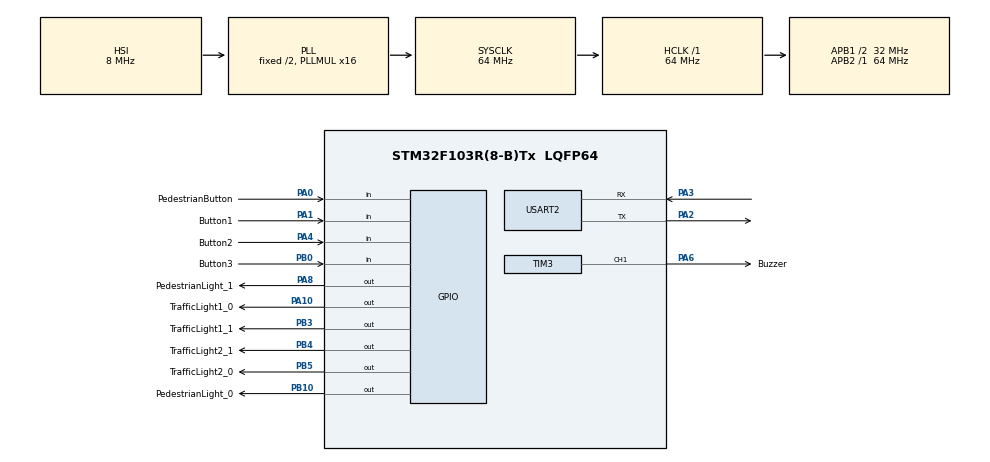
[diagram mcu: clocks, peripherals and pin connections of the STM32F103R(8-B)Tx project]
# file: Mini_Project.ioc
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Mcu.Family=STM32F1
Mcu.Name=STM32F103R(8-B)Tx
Mcu.Package=LQFP64
NVIC.PriorityGroup=NVIC_PRIORITYGROUP_4
NVIC.TIM2_IRQn=true\:0\:0\:false\:false\:true\:true\:true
NVIC.USART2_IRQn=true\:0\:0\:false\:false\:true\:true\:true
PA0-WKUP.GPIO_Label=PedestrianButton
PA0-WKUP.Signal=GPIO_Input
PA1.GPIO_Label=Button1
PA1.Signal=GPIO_Input
PA10.GPIO_Label=TrafficLight1_0
PA10.Signal=GPIO_Output
PA13.Mode=Serial_Wire
PA13.Signal=SYS_JTMS-SWDIO
PA14.Mode=Serial_Wire
PA14.Signal=SYS_JTCK-SWCLK
PA2.Mode=Asynchronous
PA2.Signal=USART2_TX
PA3.Mode=Asynchronous
PA3.Signal=USART2_RX
PA4.GPIO_Label=Button2
PA4.Signal=GPIO_Input
PA6.GPIO_Label=Buzzer
PA6.Signal=S_TIM3_CH1
PA8.GPIO_Label=PedestrianLight_1
PA8.Signal=GPIO_Output
PB0.GPIO_Label=Button3
PB0.Signal=GPIO_Input
PB10.GPIO_Label=PedestrianLight_0
PB10.Signal=GPIO_Output
PB3.GPIO_Label=TrafficLight1_1
PB3.Signal=GPIO_Output
PB4.GPIO_Label=TrafficLight2_1
PB4.Signal=GPIO_Output
PB5.GPIO_Label=TrafficLight2_0
PB5.Signal=GPIO_Output
ProjectManager.HeapSize=0x200
ProjectManager.StackSize=0x400
ProjectManager.TargetToolchain=STM32CubeIDE
RCC.AHBFreq_Value=64000000
RCC.APB1CLKDivider=RCC_HCLK_DIV2
RCC.APB1Freq_Value=32000000
RCC.APB1TimFreq_Value=64000000
RCC.APB2Freq_Value=64000000
RCC.APB2TimFreq_Value=64000000
RCC.HCLKFreq_Value=64000000
RCC.PLLMUL=RCC_PLL_MUL16
RCC.SYSCLKFreq_VALUE=64000000
RCC.SYSCLKSource=RCC_SYSCLKSOURCE_PLLCLK
RCC.USBFreq_Value=64000000
SH.S_TIM3_CH1.0=TIM3_CH1,PWM Generation1 CH1
TIM2.Period=63
TIM2.Prescaler=999
TIM3.Channel-PWM\ Generation1\ CH1=TIM_CHANNEL_1
TIM3.Period=63
TIM3.Prescaler=999
USART2.VirtualMode=VM_ASYNC
VP_TIM2_VS_ClockSourceINT.Mode=Internal
VP_TIM3_VS_ClockSourceINT.Mode=Internal
board=custom

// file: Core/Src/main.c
/* USER CODE BEGIN Header */
/**
  ******************************************************************************
  * @file           : main.c
  * @brief          : Main program body
  ******************************************************************************
  * @attention
  *
  * <h2><center>&copy; Copyright (c) 2022 STMicroelectronics.
  * All rights reserved.</center></h2>
  *
  * This software component is licensed by ST under BSD 3-Clause license,
  * the "License"; You may not use this file except in compliance with the
  * License. You may obtain a copy of the License at:
  *                        opensource.org/licenses/BSD-3-Clause
  *
  ******************************************************************************
  */
/* USER CODE END Header */
#include "main.h"

/* USER CODE BEGIN Includes */
#include "scheduler.h"
#include "fsm_auto.h"
#include "fsm_manual.h"
#include "fsm_tuning.h"
#include "fsm_pedestrian.h"
#include "scheduler.h"

/* USER CODE END Includes */

TIM_HandleTypeDef htim2;
TIM_HandleTypeDef htim3;

UART_HandleTypeDef huart2;

void SystemClock_Config(void);
static void MX_GPIO_Init(void);
static void MX_TIM2_Init(void);
static void MX_USART2_UART_Init(void);
static void MX_TIM3_Init(void);
/* USER CODE BEGIN PFP */

void test_IO(){
	HAL_GPIO_WritePin(TrafficLight1_0_GPIO_Port, TrafficLight1_0_Pin, HAL_GPIO_ReadPin(Button1_GPIO_Port, Button1_Pin));
	HAL_GPIO_WritePin(TrafficLight2_0_GPIO_Port, TrafficLight2_0_Pin, HAL_GPIO_ReadPin(Button2_GPIO_Port, Button2_Pin));
	HAL_GPIO_WritePin(PedestrianLight_0_GPIO_Port, PedestrianLight_0_Pin, HAL_GPIO_ReadPin(Button3_GPIO_Port, Button3_Pin));
	HAL_GPIO_WritePin(Buzzer_GPIO_Port, Buzzer_Pin, HAL_GPIO_ReadPin(PedestrianLight_0_GPIO_Port, PedestrianLight_0_Pin));
}

/* USER CODE END PFP */

int main(void)
{

  /* MCU Configuration--------------------------------------------------------*/

  /* Reset of all peripherals, Initializes the Flash interface and the Systick. */
  HAL_Init();

  /* Configure the system clock */
  SystemClock_Config();

  /* Initialize all configured peripherals */
  MX_GPIO_Init();
  MX_TIM2_Init();
  MX_USART2_UART_Init();
  MX_TIM3_Init();
  /* USER CODE BEGIN 2 */
  SCH_Init();
//  SCH_Add_Task(test_IO, 10, 10);
  HAL_TIM_Base_Start_IT(&htim2);
  HAL_TIM_PWM_Start(&htim3, TIM_CHANNEL_1);
  /* USER CODE END 2 */

  /* Infinite loop */
  /* USER CODE BEGIN WHILE */
  status = INIT;
  pedestrianStatus = INIT;
  SCH_Add_Task(timer_run, 1, 1);
  SCH_Add_Task(button_reading, 1, 1);
  SCH_Add_Task(fsm_auto_run, 2, 10);
  SCH_Add_Task(fsm_manual_run, 3, 10);
  SCH_Add_Task(fsm_tuning_run, 4, 10);
  SCH_Add_Task(fsm_pedestrian_run, 5, 10);
  while (1)
  {
	  SCH_Dispatch_Tasks();
    /* USER CODE END WHILE */

  }
}

void SystemClock_Config(void)
{
  RCC_OscInitTypeDef RCC_OscInitStruct = {0};
  RCC_ClkInitTypeDef RCC_ClkInitStruct = {0};

  /** Initializes the RCC Oscillators according to the specified parameters
  * in the RCC_OscInitTypeDef structure.
  */
  RCC_OscInitStruct.OscillatorType = RCC_OSCILLATORTYPE_HSI;
  RCC_OscInitStruct.HSIState = RCC_HSI_ON;
  RCC_OscInitStruct.HSICalibrationValue = RCC_HSICALIBRATION_DEFAULT;
  RCC_OscInitStruct.PLL.PLLState = RCC_PLL_ON;
  RCC_OscInitStruct.PLL.PLLSource = RCC_PLLSOURCE_HSI_DIV2;
  RCC_OscInitStruct.PLL.PLLMUL = RCC_PLL_MUL16;
  if (HAL_RCC_OscConfig(&RCC_OscInitStruct) != HAL_OK)
  {
    Error_Handler();
  }
  /** Initializes the CPU, AHB and APB buses clocks
  */
  RCC_ClkInitStruct.ClockType = RCC_CLOCKTYPE_HCLK|RCC_CLOCKTYPE_SYSCLK
                              |RCC_CLOCKTYPE_PCLK1|RCC_CLOCKTYPE_PCLK2;
  RCC_ClkInitStruct.SYSCLKSource = RCC_SYSCLKSOURCE_PLLCLK;
  RCC_ClkInitStruct.AHBCLKDivider = RCC_SYSCLK_DIV1;
  RCC_ClkInitStruct.APB1CLKDivider = RCC_HCLK_DIV2;
  RCC_ClkInitStruct.APB2CLKDivider = RCC_HCLK_DIV1;

  if (HAL_RCC_ClockConfig(&RCC_ClkInitStruct, FLASH_LATENCY_2) != HAL_OK)
  {
    Error_Handler();
  }
}

static void MX_TIM2_Init(void)
{

  TIM_ClockConfigTypeDef sClockSourceConfig = {0};
  TIM_MasterConfigTypeDef sMasterConfig = {0};

  htim2.Instance = TIM2;
  htim2.Init.Prescaler = 9999;
  htim2.Init.CounterMode = TIM_COUNTERMODE_UP;
  htim2.Init.Period = 63;
  htim2.Init.ClockDivision = TIM_CLOCKDIVISION_DIV1;
  htim2.Init.AutoReloadPreload = TIM_AUTORELOAD_PRELOAD_DISABLE;
  if (HAL_TIM_Base_Init(&htim2) != HAL_OK)
  {
    Error_Handler();
  }
  sClockSourceConfig.ClockSource = TIM_CLOCKSOURCE_INTERNAL;
  if (HAL_TIM_ConfigClockSource(&htim2, &sClockSourceConfig) != HAL_OK)
  {
    Error_Handler();
  }
  sMasterConfig.MasterOutputTrigger = TIM_TRGO_RESET;
  sMasterConfig.MasterSlaveMode = TIM_MASTERSLAVEMODE_DISABLE;
  if (HAL_TIMEx_MasterConfigSynchronization(&htim2, &sMasterConfig) != HAL_OK)
  {
    Error_Handler();
  }

}

static void MX_TIM3_Init(void)
{

  TIM_ClockConfigTypeDef sClockSourceConfig = {0};
  TIM_MasterConfigTypeDef sMasterConfig = {0};
  TIM_OC_InitTypeDef sConfigOC = {0};

  htim3.Instance = TIM3;
  htim3.Init.Prescaler = 999;
  htim3.Init.CounterMode = TIM_COUNTERMODE_UP;
  htim3.Init.Period = 63;
  htim3.Init.ClockDivision = TIM_CLOCKDIVISION_DIV1;
  htim3.Init.AutoReloadPreload = TIM_AUTORELOAD_PRELOAD_DISABLE;
  if (HAL_TIM_Base_Init(&htim3) != HAL_OK)
  {
    Error_Handler();
  }
  sClockSourceConfig.ClockSource = TIM_CLOCKSOURCE_INTERNAL;
  if (HAL_TIM_ConfigClockSource(&htim3, &sClockSourceConfig) != HAL_OK)
  {
    Error_Handler();
  }
  if (HAL_TIM_PWM_Init(&htim3) != HAL_OK)
  {
    Error_Handler();
  }
  sMasterConfig.MasterOutputTrigger = TIM_TRGO_RESET;
  sMasterConfig.MasterSlaveMode = TIM_MASTERSLAVEMODE_DISABLE;
  if (HAL_TIMEx_MasterConfigSynchronization(&htim3, &sMasterConfig) != HAL_OK)
  {
    Error_Handler();
  }
  sConfigOC.OCMode = TIM_OCMODE_PWM1;
  sConfigOC.Pulse = 0;
  sConfigOC.OCPolarity = TIM_OCPOLARITY_HIGH;
  sConfigOC.OCFastMode = TIM_OCFAST_DISABLE;
  if (HAL_TIM_PWM_ConfigChannel(&htim3, &sConfigOC, TIM_CHANNEL_1) != HAL_OK)
  {
    Error_Handler();
  }
  HAL_TIM_MspPostInit(&htim3);

}

static void MX_USART2_UART_Init(void)
{

  huart2.Instance = USART2;
  huart2.Init.BaudRate = 115200;
  huart2.Init.WordLength = UART_WORDLENGTH_8B;
  huart2.Init.StopBits = UART_STOPBITS_1;
  huart2.Init.Parity = UART_PARITY_NONE;
  huart2.Init.Mode = UART_MODE_TX_RX;
  huart2.Init.HwFlowCtl = UART_HWCONTROL_NONE;
  huart2.Init.OverSampling = UART_OVERSAMPLING_16;
  if (HAL_UART_Init(&huart2) != HAL_OK)
  {
    Error_Handler();
  }

}

static void MX_GPIO_Init(void)
{
  GPIO_InitTypeDef GPIO_InitStruct = {0};

  /* GPIO Ports Clock Enable */
  __HAL_RCC_GPIOA_CLK_ENABLE();
  __HAL_RCC_GPIOB_CLK_ENABLE();

  /*Configure GPIO pin Output Level */
  HAL_GPIO_WritePin(GPIOB, PedestrianLight_0_Pin|TrafficLight1_1_Pin|TrafficLight2_1_Pin|TrafficLight2_0_Pin, GPIO_PIN_RESET);

  /*Configure GPIO pin Output Level */
  HAL_GPIO_WritePin(GPIOA, PedestrianLight_1_Pin|TrafficLight1_0_Pin, GPIO_PIN_RESET);

  /*Configure GPIO pins : PedestrianButton_Pin Button1_Pin Button2_Pin */
  GPIO_InitStruct.Pin = PedestrianButton_Pin|Button1_Pin|Button2_Pin;
  GPIO_InitStruct.Mode = GPIO_MODE_INPUT;
  GPIO_InitStruct.Pull = GPIO_NOPULL;
  HAL_GPIO_Init(GPIOA, &GPIO_InitStruct);

  /*Configure GPIO pin : Button3_Pin */
  GPIO_InitStruct.Pin = Button3_Pin;
  GPIO_InitStruct.Mode = GPIO_MODE_INPUT;
  GPIO_InitStruct.Pull = GPIO_NOPULL;
  HAL_GPIO_Init(Button3_GPIO_Port, &GPIO_InitStruct);

  /*Configure GPIO pins : PedestrianLight_0_Pin TrafficLight1_1_Pin TrafficLight2_1_Pin TrafficLight2_0_Pin */
  GPIO_InitStruct.Pin = PedestrianLight_0_Pin|TrafficLight1_1_Pin|TrafficLight2_1_Pin|TrafficLight2_0_Pin;
  GPIO_InitStruct.Mode = GPIO_MODE_OUTPUT_PP;
  GPIO_InitStruct.Pull = GPIO_NOPULL;
  GPIO_InitStruct.Speed = GPIO_SPEED_FREQ_LOW;
  HAL_GPIO_Init(GPIOB, &GPIO_InitStruct);

  /*Configure GPIO pins : PedestrianLight_1_Pin TrafficLight1_0_Pin */
  GPIO_InitStruct.Pin = PedestrianLight_1_Pin|TrafficLight1_0_Pin;
  GPIO_InitStruct.Mode = GPIO_MODE_OUTPUT_PP;
  GPIO_InitStruct.Pull = GPIO_NOPULL;
  GPIO_InitStruct.Speed = GPIO_SPEED_FREQ_LOW;
  HAL_GPIO_Init(GPIOA, &GPIO_InitStruct);

}

void Error_Handler(void)
{
  __disable_irq();
  while (1)
  {
  }
}

/************************ (C) COPYRIGHT STMicroelectronics *****END OF FILE****/
